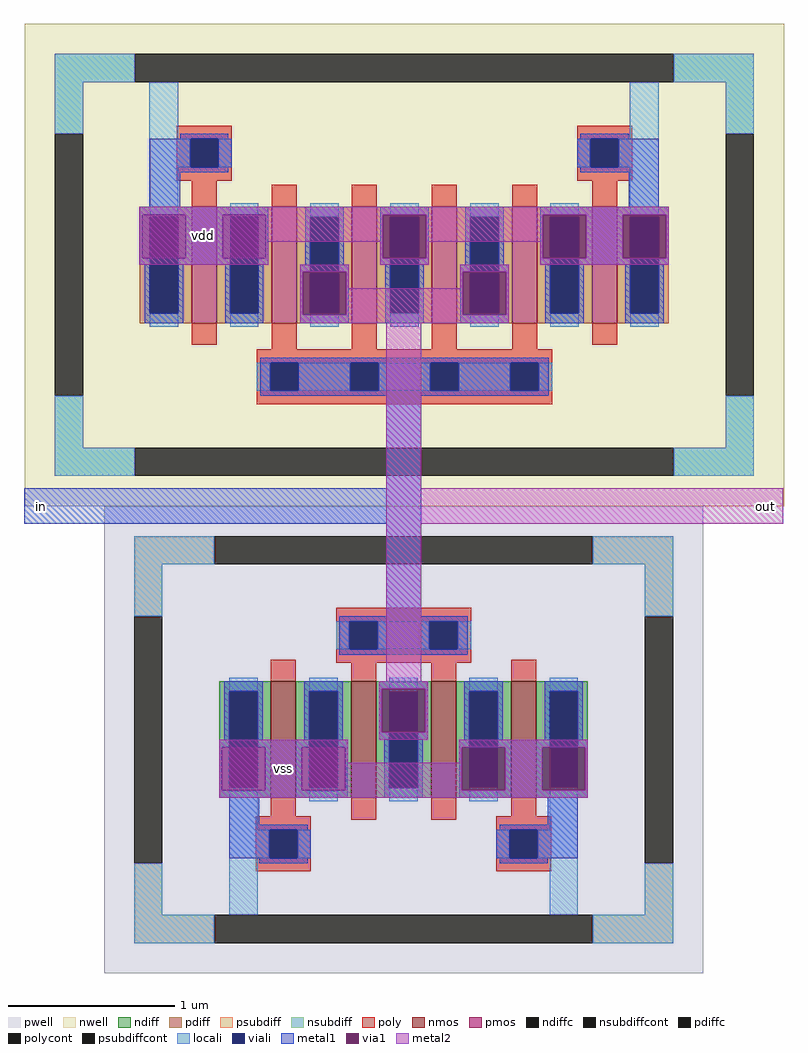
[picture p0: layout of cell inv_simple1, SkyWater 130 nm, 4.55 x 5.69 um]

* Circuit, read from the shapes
.subckt inv_simple1 in vss out vdd
XM1 vss vss vss vss sky130_fd_pr__nfet_01v8 w=0.7 l=0.15 m=2
XM2 out in vss vss sky130_fd_pr__nfet_01v8 w=0.7 l=0.15 m=2
XM3 vdd vdd vdd vdd sky130_fd_pr__pfet_01v8 w=0.7 l=0.15 m=2
XM4 out in vdd vdd sky130_fd_pr__pfet_01v8 w=0.7 l=0.15 m=4
.ends

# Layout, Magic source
magic
tech sky130A
magscale 1 2
<< locali >>
rect 97 306 131 455
rect 673 306 707 455
rect 193 -543 227 -403
rect 577 -543 611 -403
<< metal1 >>
rect 381 -32 423 79
rect -53 -74 423 -32
rect 381 -185 423 -74
<< metal2 >>
rect 85 236 239 306
rect 381 -32 423 166
rect 381 -74 857 -32
rect 381 -263 423 -74
rect 181 -403 335 -333
use sinv_n  sinv_n_0
transform 1 0 402 0 1 -333
box -359 -280 359 280
use sinv_p  sinv_p_0
transform 1 0 403 0 1 236
box -455 -289 455 289
<< labels >>
rlabel metal1 -53 -74 -11 -32 0 in
port 1 n
rlabel metal2 815 -74 857 -32 6 out
port 5 n
rlabel metal2 85 236 239 306 1 vdd
port 6 n
rlabel metal2 181 -403 335 -333 0 vss
port 4 n
<< end >>

# cell sinv_n: kit device sky130_fd_pr__nfet_01v8, w 0.7 l 0.150 m 1 nf 4 diffcov 100 polycov 100 guard 1 glc 1 grc 1 gtc 1 gbc 1 tbcov 100 rlcov 100 topc 1 botc 1 poverlap 0 doverlap 1 lmin 0.15 wmin 0.42 compatible {sky130_fd_pr__nfet_01v8 sky130_fd_pr__nfet_01v8_lvt sky130_fd_bs_flash__special_sonosfet_star sky130_fd_pr__nfet_g5v0d10v5 sky130_fd_pr__nfet_05v0_nvt sky130_fd_pr__nfet_03v3_nvt} full_metal 1 viasrc 100 viadrn 100 viagate 100 viagb 0 viagr 0 viagl 0 viagt 0

# cell sinv_p: kit device sky130_fd_pr__pfet_01v8, w 0.7 l 0.15 m 1 nf 6 diffcov 100 polycov 100 guard 1 glc 1 grc 1 gtc 1 gbc 1 tbcov 100 rlcov 100 topc 1 botc 1 poverlap 0 doverlap 1 lmin 0.15 wmin 0.42 compatible {sky130_fd_pr__pfet_01v8 sky130_fd_pr__pfet_01v8_lvt sky130_fd_pr__pfet_01v8_hvt sky130_fd_pr__pfet_g5v0d10v5} full_metal 1 viasrc 100 viadrn 100 viagate 100 viagb 0 viagr 0 viagl 0 viagt 0
